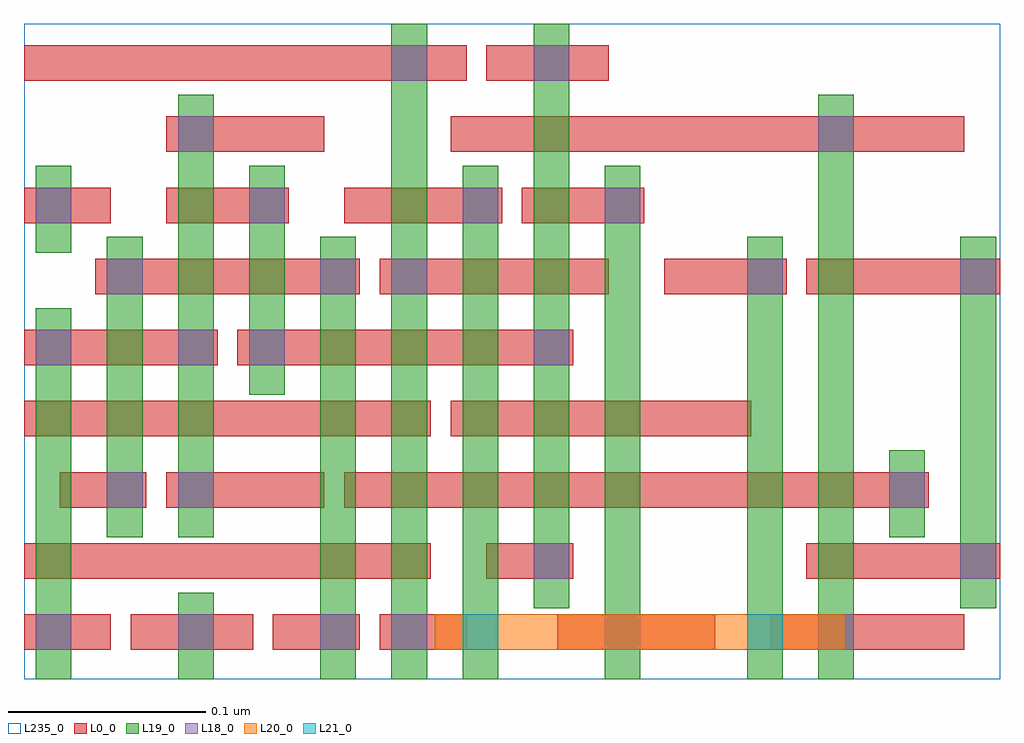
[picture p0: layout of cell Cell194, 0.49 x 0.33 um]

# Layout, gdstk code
import gdstk
lib = gdstk.Library(unit=1e-6, precision=2.5e-10)
def R(c, l, rs):  # rectangles x0, y0, x1, y1
    for r in rs: c.add(gdstk.rectangle(r[:2], r[2:], *l))
def A(c, l, x, y, w, h, nx, ny, dx, dy):  # array of equal rectangles
    R(c, l, [(x+i*dx, y+j*dy, x+i*dx+w, y+j*dy+h) for i in range(nx) for j in range(ny)])
L0_0 = (0, 0)
L18_0 = (18, 0)
L19_0 = (19, 0)
L20_0 = (20, 0)
L21_0 = (21, 0)
L235_0 = (235, 0)

cell194 = lib.new_cell('Cell194')
R(cell194, L0_0, [(0.004,-0.001,0.048,0.017), (0.058,-0.001,0.12,0.017), (0.13,-0.001,0.174,0.017), (0.184,-0.001,0.228,0.017), (0.274,-0.001,0.354,0.017), (0.382,-0.001,0.48,0.017), (0.004,0.035,0.21,0.053), (0.238,0.035,0.282,0.053), (0.4,0.035,0.498,0.053), (0.022,0.071,0.066,0.089), (0.076,0.071,0.156,0.089), (0.166,0.071,0.462,0.089), (0.004,0.107,0.21,0.125), (0.22,0.107,0.372,0.125), (0.004,0.143,0.102,0.161), (0.112,0.143,0.282,0.161), (0.04,0.179,0.174,0.197), (0.184,0.179,0.3,0.197), (0.328,0.179,0.39,0.197), (0.4,0.179,0.498,0.197), (0.004,0.215,0.048,0.233), (0.076,0.215,0.138,0.233), (0.166,0.215,0.246,0.233), (0.256,0.215,0.318,0.233), (0.076,0.251,0.156,0.269), (0.22,0.251,0.48,0.269), (0.004,0.287,0.228,0.305), (0.238,0.287,0.3,0.305)])
A(cell194, L18_0, 0.01, -0.001, 0.018, 0.018, 3, 1, 0.072, 0)
A(cell194, L18_0, 0.19, -0.001, 0.018, 0.018, 3, 1, 0.108, 0)
A(cell194, L18_0, 0.01, 0.215, 0.018, 0.018, 3, 1, 0.108, 0)
R(cell194, L18_0, [(0.262,0.035,0.28,0.053), (0.478,0.035,0.496,0.053), (0.046,0.071,0.064,0.089), (0.082,0.071,0.1,0.089), (0.442,0.071,0.46,0.089), (0.01,0.143,0.028,0.161), (0.082,0.143,0.1,0.161), (0.118,0.143,0.136,0.161), (0.262,0.143,0.28,0.161), (0.046,0.179,0.064,0.197), (0.154,0.179,0.172,0.197), (0.19,0.179,0.208,0.197), (0.37,0.179,0.388,0.197), (0.478,0.179,0.496,0.197), (0.298,0.215,0.316,0.233), (0.082,0.251,0.1,0.269), (0.406,0.251,0.424,0.269), (0.19,0.287,0.208,0.305), (0.262,0.287,0.28,0.305)])
R(cell194, L19_0, [(0.01,-0.016,0.028,0.172), (0.082,-0.016,0.1,0.028), (0.154,-0.016,0.172,0.208), (0.19,-0.016,0.208,0.316), (0.226,-0.016,0.244,0.244), (0.298,-0.016,0.316,0.244), (0.37,-0.016,0.388,0.208), (0.406,-0.016,0.424,0.28), (0.262,0.02,0.28,0.316), (0.478,0.02,0.496,0.208), (0.046,0.056,0.064,0.208), (0.082,0.056,0.1,0.28), (0.442,0.056,0.46,0.1), (0.118,0.128,0.136,0.244), (0.01,0.2,0.028,0.244)])
R(cell194, L20_0, [(0.212,-0.001,0.42,0.017)])
R(cell194, L21_0, [(0.226,-0.001,0.244,0.017), (0.37,-0.001,0.388,0.017)])
R(cell194, L235_0, [(0.004,-0.016,0.498,0.316)])

lib.write_gds('Cell194.gds')
